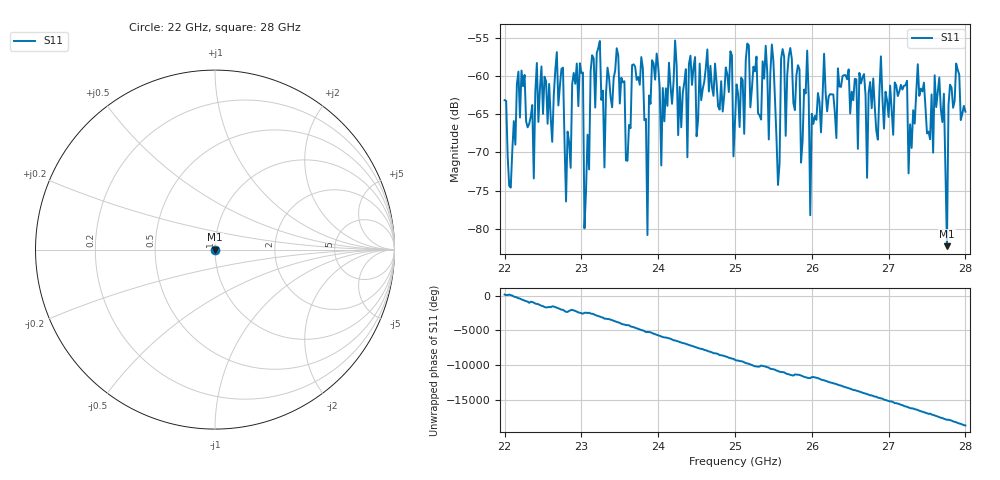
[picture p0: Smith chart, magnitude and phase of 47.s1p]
#  HZ  S  RI  R  50.00
! Rohde & Schwarz ZVA40 4Ports - Version 3.90 - 1145.1110k42 SN: 100403
! Date: 2023-10-04 06:41:47
! Measurement: S12
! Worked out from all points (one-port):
!   301 points, 22 GHz to 28 GHz, reference 50 ohm
!   lowest |S11| = -82.3 dB at 27.76 GHz (marker M1), VSWR 1.00, Z = 50 + j0.00765 ohm
!   |S11| at or under -10 dB: start of sweep to end of sweep
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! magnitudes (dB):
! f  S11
! 22 GHz  -63.2
! 22.38 GHz  -73.4
! 22.42 GHz  -58.3
! 22.76 GHz  -58.9
! 22.8 GHz  -76.4
! 23.02 GHz  -59.6
! 23.04 GHz  -79.9
! 23.14 GHz  -57.3
! 23.3 GHz  -72.0
! 23.34 GHz  -58.9
! 23.5 GHz  -63.6
! 23.78 GHz  -57.5
! 23.86 GHz  -80.8
! 23.92 GHz  -58.0
! 24.26 GHz  -67.7
! 25 GHz  -66.0
! 25.76 GHz  -63.5
! 25.86 GHz  -71.3
! 25.94 GHz  -56.7
! 25.98 GHz  -78.2
! 26.16 GHz  -57.1
! 26.5 GHz  -64.9
! 27.24 GHz  -60.6
! 27.26 GHz  -72.7
! 27.66 GHz  -60.2
! 27.76 GHz  -82.3
! 27.8 GHz  -61.2
! 28 GHz  -64.7
